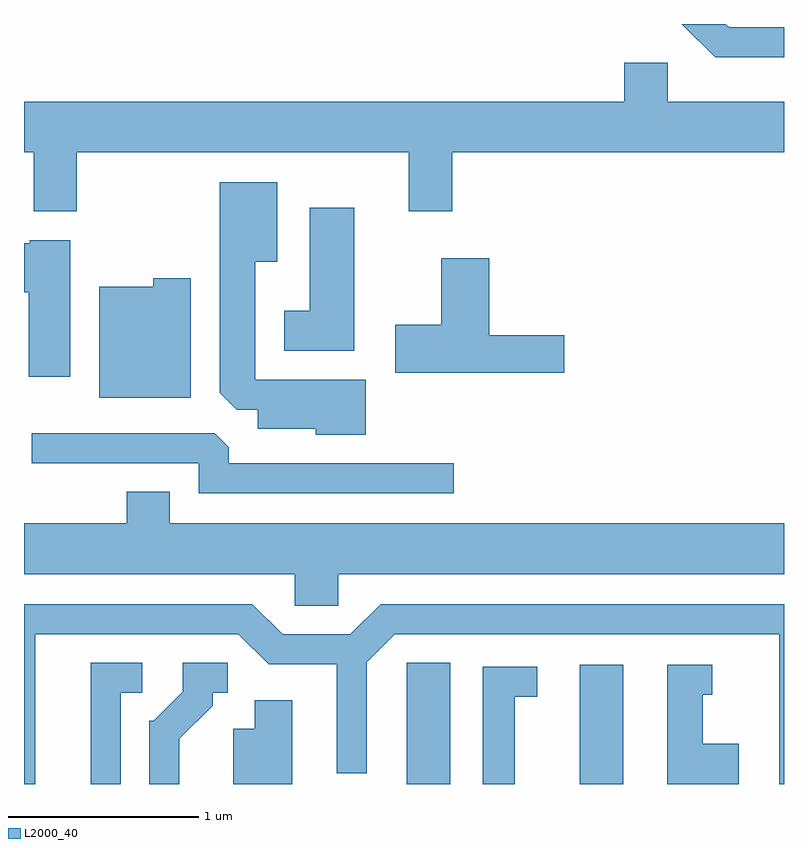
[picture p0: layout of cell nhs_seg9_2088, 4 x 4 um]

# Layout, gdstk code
import gdstk
lib = gdstk.Library(unit=1e-6, precision=1e-09)
def R(c, l, rs):  # rectangles x0, y0, x1, y1
    for r in rs: c.add(gdstk.rectangle(r[:2], r[2:], *l))
def P(c, l, *ps):  # polygons
    for p in ps: c.add(gdstk.Polygon(p, *l))
L2000_40 = (2000, 40)

nhs_seg9_2088 = lib.new_cell('nhs_seg9_2088')
R(nhs_seg9_2088, L2000_40, [(247.626,2048.432,247.854,2049.069), (248.536,2048.432,248.764,2049.059)])
P(nhs_seg9_2088, L2000_40, [(249.611,2052.414),(249.322,2052.414),(249.304,2052.432),(249.073,2052.432),(249.249,2052.256),(249.611,2052.256)],
  [(245.889,2051.756),(247.636,2051.756),(247.636,2051.446),(247.864,2051.446),(247.864,2051.756),(249.611,2051.756),(249.611,2052.024),(248.999,2052.024),(248.999,2052.229),(248.771,2052.229),(248.771,2052.024),(245.611,2052.024),(245.611,2051.756),(245.661,2051.756),(245.661,2051.446),(245.889,2051.446)],
  [(247.409,2050.559),(246.829,2050.559),(246.829,2051.181),(246.944,2051.181),(246.944,2051.599),(246.641,2051.599),(246.641,2050.492),(246.732,2050.401),(246.841,2050.401),(246.841,2050.301),(247.146,2050.301),(247.146,2050.271),(247.409,2050.271)],
  [(247.349,2051.464),(247.116,2051.464),(247.116,2050.924),(246.981,2050.924),(246.981,2050.711),(247.349,2050.711)],
  [(245.854,2051.294),(245.64,2051.294),(245.64,2051.279),(245.611,2051.279),(245.611,2051.021),(245.636,2051.021),(245.636,2050.576),(245.854,2050.576)],
  [(248.454,2050.794),(248.059,2050.794),(248.059,2051.199),(247.806,2051.199),(247.806,2050.849),(247.566,2050.849),(247.566,2050.596),(248.454,2050.596)],
  [(246.489,2051.094),(246.291,2051.094),(246.291,2051.049),(246.006,2051.049),(246.006,2050.466),(246.489,2050.466)],
  [(247.873,2050.119),(246.689,2050.119),(246.689,2050.204),(246.614,2050.279),(245.653,2050.279),(245.653,2050.121),(246.531,2050.121),(246.531,2049.961),(247.873,2049.961)],
  [(247.264,2049.536),(249.611,2049.536),(249.611,2049.804),(246.379,2049.804),(246.379,2049.969),(246.151,2049.969),(246.151,2049.804),(245.611,2049.804),(245.611,2049.536),(247.036,2049.536),(247.036,2049.371),(247.264,2049.371)],
  [(245.669,2049.221),(246.739,2049.221),(246.899,2049.061),(247.256,2049.061),(247.256,2048.488),(247.414,2048.488),(247.414,2049.074),(247.562,2049.221),(249.586,2049.221),(249.586,2048.432),(249.611,2048.432),(249.611,2049.379),(247.489,2049.379),(247.329,2049.219),(246.972,2049.219),(246.812,2049.379),(245.611,2049.379),(245.611,2048.432),(245.669,2048.432)],
  [(246.119,2048.911),(246.233,2048.911),(246.233,2049.069),(245.961,2049.069),(245.961,2048.432),(246.119,2048.432)],
  [(246.429,2048.669),(246.604,2048.844),(246.604,2048.911),(246.683,2048.911),(246.683,2049.069),(246.446,2049.069),(246.446,2048.917),(246.294,2048.764),(246.271,2048.764),(246.271,2048.432),(246.429,2048.432)],
  [(249.374,2048.644),(249.184,2048.644),(249.184,2048.901),(249.233,2048.901),(249.233,2049.059),(248.996,2049.059),(248.996,2048.432),(249.374,2048.432)],
  [(248.194,2048.891),(248.313,2048.891),(248.313,2049.049),(248.026,2049.049),(248.026,2048.432),(248.194,2048.432)],
  [(247.024,2048.874),(246.826,2048.874),(246.826,2048.724),(246.711,2048.724),(246.711,2048.432),(247.024,2048.432)])

lib.write_gds('nhs_seg9_2088.gds')
